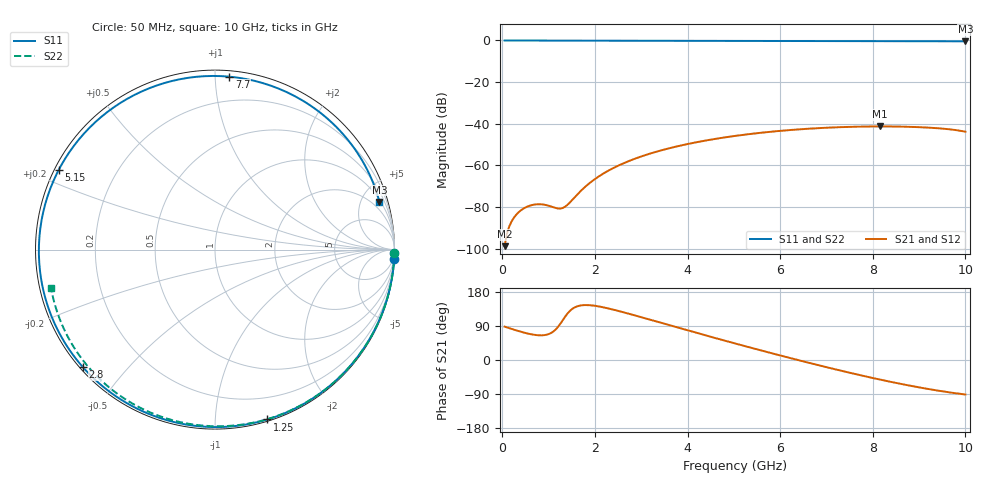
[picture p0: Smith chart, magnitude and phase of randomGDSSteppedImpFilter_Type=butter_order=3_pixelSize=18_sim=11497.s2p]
! freq	dB(S11)	phase(S11)	dB(S12)	phase(S12)
!  dB(S21)	phase(S21)	dB(S22)	phase(S22)
!S-par simulation data
#  GHz  S  DB  R 50
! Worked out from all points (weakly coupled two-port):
!   200 points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, 50 MHz to 10 GHz, reference 50 ohm
!   highest |S21| = -41.27 dB at 8.15 GHz (marker M1); lowest = -98.7 dB at 50 MHz (marker M2)
!   lowest |S11| = -0.4 dB at 10 GHz (marker M3), VSWR 42.41, Z = 58.1 + j343 ohm
!   |S11| at or under -10 dB: nowhere
!   |S22| runs from -0.6 to 0.0 dB; largest |S21 - S12| = 0
!   S11 on the Smith chart (normalised r, x): 50 MHz: 0, -36; 1.25 GHz: 0.01, -1.36; 2.8 GHz: 0.01, -0.38; 5.15 GHz: 0.01, +0.24; 7.7 GHz: 0.04, +1.09; 10 GHz: 1.16, +6.85
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0.05  -0.00 -3.2  -98.74 88.0  -98.74 88.0  -0.00 -1.0
0.35  -0.03 -21.7  -82.51 76.4  -82.51 76.4  -0.01 -6.8
0.5  -0.04 -30.8  -80.16 71.3  -80.16 71.3  -0.01 -9.6
0.7  -0.06 -42.6  -78.75 66.3  -78.75 66.3  -0.02 -13.5
0.95  -0.07 -56.8  -79.03 66.5  -79.03 66.5  -0.02 -18.2
1.25  -0.08 -72.8  -80.70 95.0  -80.70 95.0  -0.03 -23.9
1.35  -0.09 -77.9  -79.89 113.2  -79.89 113.2  -0.03 -25.8
1.4  -0.09 -80.4  -79.03 121.4  -79.03 121.4  -0.03 -26.7
1.75  -0.10 -96.9  -71.05 144.8  -71.05 144.8  -0.04 -33.3
2.2  -0.12 -116.0  -63.65 138.5  -63.65 138.5  -0.05 -41.6
2.8  -0.13 -138.3  -57.30 119.8  -57.30 119.8  -0.07 -52.4
3.4  -0.14 -157.9  -52.94 99.1  -52.94 99.1  -0.08 -63.0
4.2  -0.16 178.6  -48.82 71.5  -48.82 71.5  -0.11 -76.7
5.05  -0.19 155.6  -45.75 42.9  -45.75 42.9  -0.14 -90.7
5.15  -0.20 152.9  -45.46 39.6  -45.46 39.6  -0.14 -92.3
5.95  -0.23 132.0  -43.50 13.6  -43.50 13.6  -0.18 -105.0
6.7  -0.26 112.3  -42.24 -9.9  -42.24 -9.9  -0.23 -116.6
7.7  -0.29 85.2  -41.37 -39.3  -41.37 -39.3  -0.30 -131.8
8.15  -0.31 72.6  -41.27 -51.5  -41.27 -51.5  -0.34 -138.5
8.35  -0.32 67.0  -41.28 -56.7  -41.28 -56.7  -0.36 -141.6
9.2  -0.35 42.0  -41.83 -76.6  -41.83 -76.6  -0.46 -154.5
10  -0.41 16.2  -43.80 -91.1  -43.80 -91.1  -0.56 -166.9
